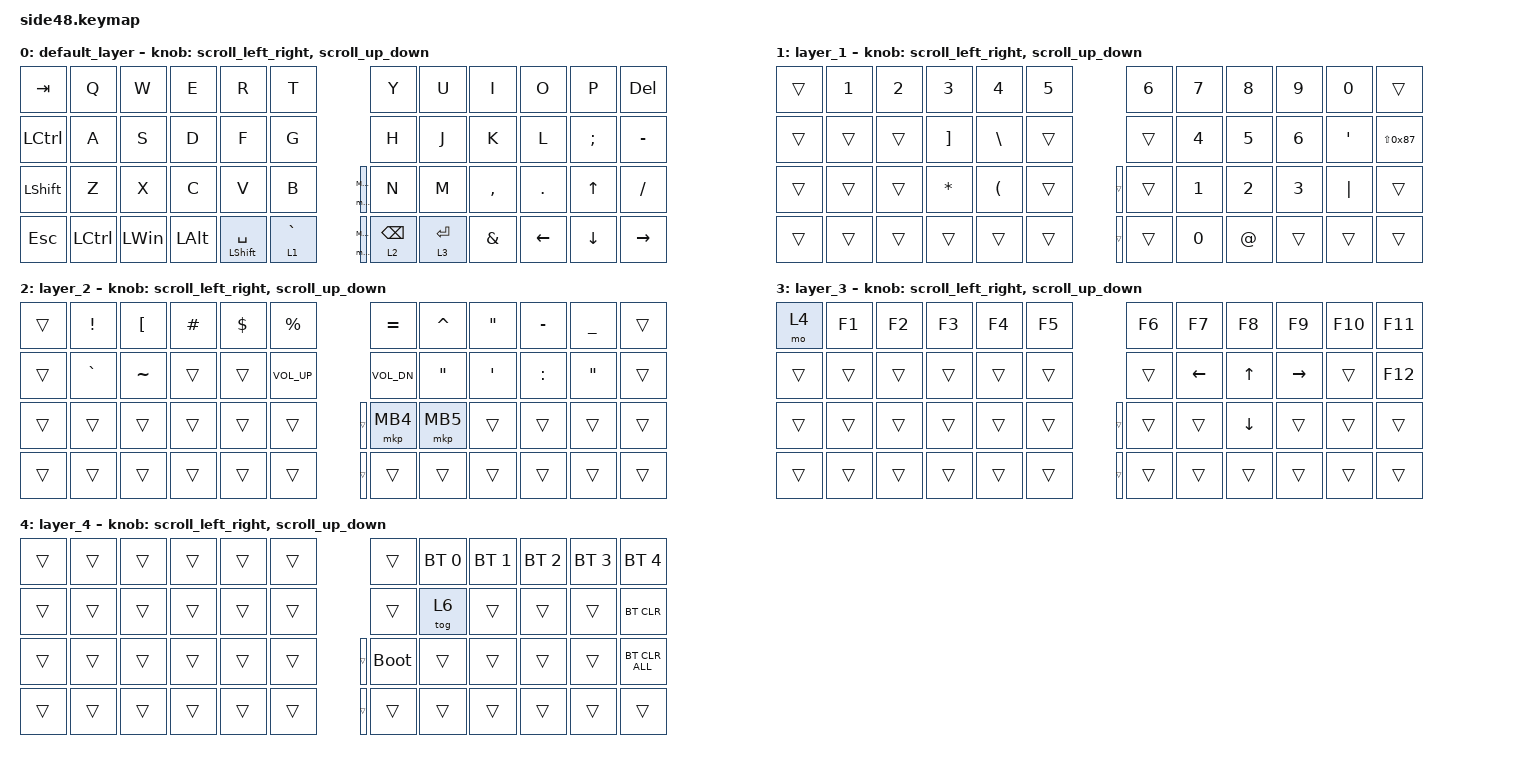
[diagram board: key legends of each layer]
#include <input/processors.dtsi>
#include <dt-bindings/zmk/input_transform.h>
#include <zephyr/dt-bindings/input/input-event-codes.h>
#include <behaviors.dtsi>
#include <dt-bindings/zmk/bt.h>
#include <dt-bindings/zmk/keys.h>
#include <dt-bindings/zmk/pointing.h>
#include <behaviors/runtime-sensor-rotate.dtsi>
#include <behaviors/runtime_macro.dtsi>

// Conversion definition for using Japanese keyboard with OS settings
#define JP_DQUOTE       AT                // "
#define JP_AMPERSAND    CARET             // &
#define JP_QUOTE        AMPERSAND         // '
#define JP_EQUAL        UNDER             // =
#define JP_CARET        EQUAL             // ^
#define JP_YEN          0x89              // ¥
#define JP_PLUS         COLON             // +
#define JP_TILDE        PLUS              // ~
#define JP_PIPE         LS(0x89)          // |
#define JP_AT           LEFT_BRACKET      // @
#define JP_COLON        SINGLE_QUOTE      // :
#define JP_ASTERISK     DOUBLE_QUOTES     // *
#define JP_BACKQUOTE    LEFT_BRACE        // `
#define JP_UNDERSCORE   LS(0x87)          // _
#define JP_LBRACKET     RIGHT_BRACKET     // [
#define JP_RBRACKET     BACKSLASH         // ]
#define JP_LPAREN       ASTERISK          // (
#define JP_RPAREN       LEFT_PARENTHESIS  // )
#define JP_LBRACE       RIGHT_BRACE       // {
#define JP_RBRACE       PIPE              // }
#define JP_KANA         LANGUAGE_1        // かな
#define JP_EISU         LANGUAGE_2        // 英数
#define JP_HANZEN       GRAVE             // 半角/全角

#define ZMK_POINTING_DEFAULT_SCRL_VAL 100
#define MOUSE 0
#define ZMK_MOUSE_DEFAULT_SCRL_VAL 100

&mt {
    flavor = "balanced";
    quick-tap-ms = <0>;
};

/ {
    behaviors {
        lt_mkp: lt_mkp {
            compatible = "zmk,behavior-hold-tap";
            label = "LT_MKP";
            bindings = <&mo>, <&mkp>;
            #binding-cells = <2>;
            tapping-term-ms = <200>;
        };

        scroll_up_down: behavior_sensor_rotate_mouse_wheel_up_down {
            compatible = "zmk,behavior-runtime-sensor-rotate";
            #sensor-binding-cells = <0>;
            cw-binding = <&msc SCRL_UP>;
            ccw-binding = <&msc SCRL_DOWN>;
            tap-ms = <20>;
        };

        scroll_left_right: behavior_sensor_rotate_mouse_wheel_left_right {
            compatible = "zmk,behavior-runtime-sensor-rotate";
            #sensor-binding-cells = <0>;
            cw-binding = <&msc SCRL_LEFT>;
            ccw-binding = <&msc SCRL_RIGHT>;
            tap-ms = <20>;
        };

    };

    keymap {
        compatible = "zmk,keymap";

        default_layer {
            bindings = <
//&kp UP     &kp RIGHT  &kp LEFT  &kp DOWN  &kp GRAVE        &kp GRAVE           &mkp MB1    &mkp MB2     &kp MB3                                             //左から未使用、未使用、未使用、未使用、未使用、未使用、上側マウスボタン、下側マウスボタン、未使用
                                                                               &mkp MB1    &mkp MB2                                                      //左から上側マウスボタン、下側マウスボタン
&kp TAB    &kp Q      &kp W     &kp E     &kp R            &kp T               &kp Y       &kp U        &kp I         &kp O     &kp P          &kp DELETE
&kp LCTRL  &kp A      &kp S     &kp D     &kp F            &kp G               &kp H       &kp J        &kp K         &kp L     &kp SEMICOLON  &kp MINUS
&kp LSHFT  &kp Z      &kp X     &kp C     &kp V            &kp B               &kp N       &kp M        &kp COMMA     &kp DOT   &kp UP         &kp SLASH
&kp ESC    &kp LCTRL  &kp LWIN  &kp LALT  &mt LSHFT SPACE  &lt 1 JP_HANZEN     &lt 2 BSPC  &lt 3 ENTER  &kp JP_QUOTE  &kp LEFT  &kp DOWN       &kp RIGHT 
            >;
            sensor-bindings = <&scroll_left_right &scroll_up_down>;
        };

        layer_1 {
            bindings = <
//&trans  &trans        &trans        &trans           &trans           &trans          &trans        &trans         &trans    
                                                                                      &trans        &trans   
&trans  &kp NUMBER_1  &kp NUMBER_2  &kp NUMBER_3     &kp NUMBER_4     &kp NUMBER_5    &kp NUMBER_6  &kp NUMBER_7   &kp NUMBER_8   &kp NUMBER_9  &kp NUMBER_0   &trans
&trans  &trans        &trans        &kp JP_LBRACKET  &kp JP_RBRACKET  &trans          &trans        &kp NUMBER_4   &kp NUMBER_5   &kp NUMBER_6  &kp JP_COLON   &kp JP_UNDERSCORE
&trans  &trans        &trans        &kp JP_LPAREN    &kp JP_RPAREN    &trans          &trans        &kp NUMBER_1   &kp NUMBER_2   &kp NUMBER_3  &kp PIPE       &trans
&trans  &trans        &trans        &trans           &trans           &trans          &trans        &kp NUMBER_0   &kp JP_DQUOTE  &trans        &trans         &trans
            >;
            sensor-bindings = <&scroll_left_right &scroll_up_down>;
        };

        layer_2 {
            bindings = <
                                                                           &trans             &trans    
&trans  &kp EXCLAMATION  &kp JP_AT  &kp POUND  &kp DOLLAR  &kp PERCENT     &kp JP_CARET  &kp JP_AMPERSAND   &kp JP_ASTERISK   &kp MINUS    &kp UNDERSCORE   &trans
&trans  &kp GRAVE        &kp TILDE  &trans     &trans      &kp C_VOL_UP    &kp C_VOL_DN  &kp DOUBLE_QUOTES  &kp SINGLE_QUOTE  &kp JP_PLUS  &kp JP_ASTERISK  &trans
&trans  &trans           &trans     &trans     &trans      &trans          &mkp MB4      &mkp MB5           &trans            &trans       &trans           &trans
&trans  &trans           &trans     &trans     &trans      &trans          &trans        &trans             &trans            &trans       &trans           &trans
            >;
            sensor-bindings = <&scroll_left_right &scroll_up_down>;
        };

        layer_3 {
            bindings = <
                                                   &trans  &trans    
&mo 4   &kp F1  &kp F2  &kp F3  &kp F4  &kp F5     &kp F6  &kp F7    &kp F8    &kp F9     &kp F10  &kp F11
&trans  &trans  &trans  &trans  &trans  &trans     &trans  &kp LEFT  &kp UP    &kp RIGHT  &trans   &kp F12
&trans  &trans  &trans  &trans  &trans  &trans     &trans  &trans    &kp DOWN  &trans     &trans   &trans
&trans  &trans  &trans  &trans  &trans  &trans     &trans  &trans    &trans    &trans     &trans   &trans
            >;
            sensor-bindings = <&scroll_left_right &scroll_up_down>;
        };

        layer_4 {
            bindings = <
                                                  &trans        &trans    
&trans  &trans  &trans  &trans  &trans  &trans    &trans       &bt BT_SEL 0  &bt BT_SEL 1  &bt BT_SEL 2  &bt BT_SEL 3  &bt BT_SEL 4
&trans  &trans  &trans  &trans  &trans  &trans    &trans       &tog 6        &trans        &trans        &trans        &bt BT_CLR
&trans  &trans  &trans  &trans  &trans  &trans    &bootloader  &trans        &trans        &trans        &trans        &bt BT_CLR_ALL
&trans  &trans  &trans  &trans  &trans  &trans    &trans       &trans        &trans        &trans        &trans        &trans
            >;
            sensor-bindings = <&scroll_left_right &scroll_up_down>;
        };
    };
};
